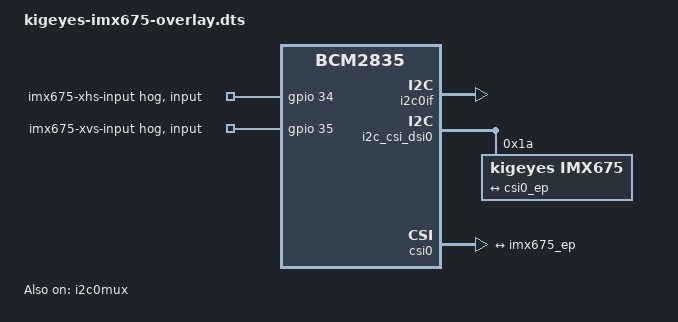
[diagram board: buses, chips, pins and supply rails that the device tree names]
// SPDX-License-Identifier: GPL-2.0-only
/dts-v1/;
/plugin/;

/*
 * KigEyes IMX675 camera module on the CM5 CAM0 connector.
 *
 * The module supplies its own 24 MHz oscillator.  Do not enable cam0_clk:
 * pins 17/18 on the Pi connector map to the module's XHS/XVS signals.
 */

/ {
	compatible = "brcm,bcm2835";

	fragment@0 {
		target = <&i2c0if>;
		__overlay__ {
			status = "okay";
		};
	};

	fragment@1 {
		target = <&i2c0mux>;
		__overlay__ {
			status = "okay";
		};
	};

	fragment@2 {
		target = <&i2c_csi_dsi0>;
		__overlay__ {
			#address-cells = <1>;
			#size-cells = <0>;
			status = "okay";

			imx675: camera@1a {
				compatible = "kigeyes,imx675";
				reg = <0x1a>;
				kigeyes,controller-address = <0x30>;
				kigeyes,sync-role = "master";
				rotation = <0>;
				orientation = <2>;

				port {
					imx675_ep: endpoint {
						clock-lanes = <0>;
						data-lanes = <1 2 3 4>;
						clock-noncontinuous;
						link-frequencies = /bits/ 64 <594000000 297000000>;
						remote-endpoint = <&csi0_ep>;
					};
				};
			};
		};
	};

	fragment@3 {
		target = <&csi0>;
		__overlay__ {
			status = "okay";

			port {
				csi0_ep: endpoint {
					clock-lanes = <0>;
					data-lanes = <1 2 3 4>;
					clock-noncontinuous;
					remote-endpoint = <&imx675_ep>;
				};
			};
		};
	};

	/* XHS/XVS are 1.8 V sensor signals; the Pi pads must be inputs. */
	fragment@4 {
		target = <&cam0_reg>;
		__overlay__ {
			status = "disabled";
		};
	};

	fragment@5 {
		target = <&gpio>;
		__overlay__ {
			imx675_xhs_guard: imx675-xhs-guard {
				gpio-hog;
				gpios = <34 0>;
				input;
				line-name = "imx675-xhs-input";
			};

			imx675_xvs_guard: imx675-xvs-guard {
				gpio-hog;
				gpios = <35 0>;
				input;
				line-name = "imx675-xvs-input";
			};
		};
	};
};
